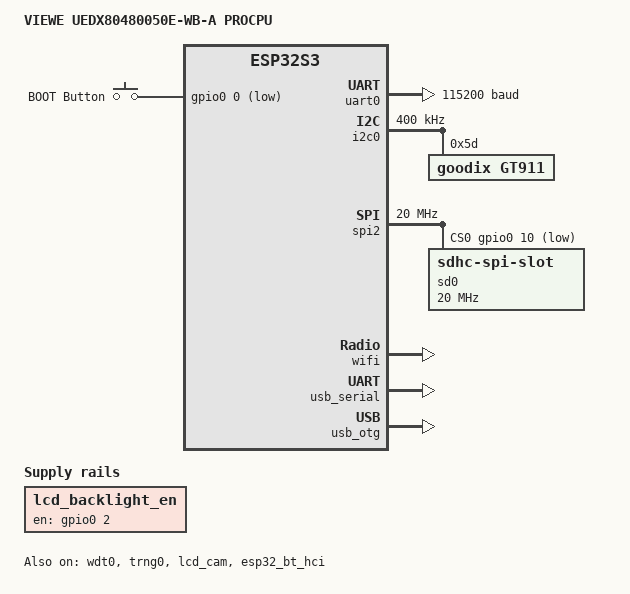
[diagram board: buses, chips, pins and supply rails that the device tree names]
/*
 * SPDX-License-Identifier: Apache-2.0
 */

/dts-v1/;

#include <zephyr/dt-bindings/input/input-event-codes.h>
#include <espressif/esp32s3/esp32s3_wroom_n16r8.dtsi>
#include <espressif/partitions_0x0_amp_16M.dtsi>
#include "uedx80480050e_wb_a-pinctrl.dtsi"

/ {
	model = "VIEWE UEDX80480050E-WB-A PROCPU";
	compatible = "viewe,uedx80480050e_wb_a", "espressif,esp32s3";

	chosen {
	    zephyr,sram = &sram1;
	    zephyr,console = &uart0;
	    zephyr,shell-uart = &uart0;
	    zephyr,flash = &flash0;
	    zephyr,code-partition = &slot0_partition;
	    zephyr,bt-hci = &esp32_bt_hci;
	    zephyr,touch = &gt911;
    };

	aliases {
		sw0 = &button;
		watchdog0 = &wdt0;
		sdhc0 = &sd0;
	};

	keys: keys {
		compatible = "gpio-keys";
		debounce-interval-ms = <10>;

		button: button {
			gpios = <&gpio0 0 (GPIO_ACTIVE_LOW | GPIO_PULL_UP)>;
			label = "BOOT Button";
			zephyr,code = <INPUT_KEY_0>;
		};
	};

	lcd_backlight_en: lcd-backlight-en {
		compatible = "regulator-fixed";
		regulator-name = "lcd_backlight_enable";
		enable-gpios = <&gpio0 2 GPIO_ACTIVE_HIGH>;
		regulator-boot-on;
	};
};

&dma {
	status = "okay";
};

&timer0 {
	status = "disabled";
};

&timer1 {
	status = "disabled";
};

&timer2 {
	status = "disabled";
};

&timer3 {
	status = "disabled";
};

&wdt0 {
	status = "okay";
};

&trng0 {
	status = "okay";
};

&gpio0 {
	status = "okay";
};

&gpio1 {
	status = "okay";
};

&uart0 {
	status = "okay";
	current-speed = <115200>;
	pinctrl-0 = <&uart0_default>;
	pinctrl-names = "default";
};

&i2c0 {
	status = "okay";
	clock-frequency = <I2C_BITRATE_FAST>;
	pinctrl-0 = <&i2c0_default>;
	pinctrl-names = "default";

	gt911: gt911@5d {
		compatible = "goodix,gt911";
		reg = <0x5d>;
		alt-addr = <0x14>;
		status = "okay";
	};
};

&spi2 {
	#address-cells = <1>;
	#size-cells = <0>;
	status = "okay";
	pinctrl-0 = <&spim2_default>;
	pinctrl-names = "default";
	clock-frequency = <20000000>;
	cs-gpios = <&gpio0 10 GPIO_ACTIVE_LOW>;

	sd0: sd@0 {
		compatible = "zephyr,sdhc-spi-slot";
		reg = <0>;
		status = "okay";
		spi-max-frequency = <20000000>;

		mmc {
			compatible = "zephyr,sdmmc-disk";
			disk-name = "SD";
			status = "okay";
		};
	};
};

&lcd_cam {
	status = "okay";
	pinctrl-0 = <&lcd_cam_rgb_default>;
	pinctrl-names = "default";
};

&esp32_bt_hci {
	status = "okay";
};

&wifi {
	status = "okay";
};

&usb_serial {
	status = "okay";
};

zephyr_udc0: &usb_otg {
	status = "okay";
};
